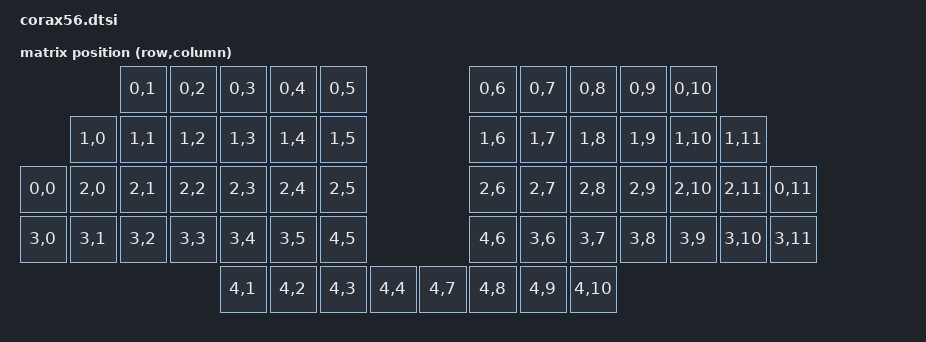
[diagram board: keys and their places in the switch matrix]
#include <dt-bindings/zmk/matrix_transform.h>

/ {
    chosen {
        zmk,kscan = &kscan0;
        zmk,matrix_transform = &default_transform;
    };

    default_transform: keymap_transform_0 {
        compatible = "zmk,matrix-transform";
        rows = <5>;
        columns = <16>;

        map = <
                RC(0,1) RC(0,2) RC(0,3) RC(0,4) RC(0,5)                 RC(0,6) RC(0,7) RC(0,8)  RC(0,9) RC(0,10)
        RC(1,0) RC(1,1) RC(1,2) RC(1,3) RC(1,4) RC(1,5)                 RC(1,6) RC(1,7) RC(1,8)  RC(1,9) RC(1,10) RC(1,11)
RC(0,0) RC(2,0) RC(2,1) RC(2,2) RC(2,3) RC(2,4) RC(2,5)                 RC(2,6) RC(2,7) RC(2,8)  RC(2,9) RC(2,10) RC(2,11) RC(0,11)
        RC(3,0) RC(3,1) RC(3,2) RC(3,3) RC(3,4) RC(3,5) RC(4,5) RC(4,6) RC(3,6) RC(3,7) RC(3,8)  RC(3,9) RC(3,10) RC(3,11)
                                RC(4,1) RC(4,2) RC(4,3) RC(4,4) RC(4,7) RC(4,8) RC(4,9) RC(4,10)
        >;
    };

    kscan0: kscan {
        compatible = "zmk,kscan-gpio-matrix";
    };

    &pinctrl {
        i2c1_default: i2c1_default {
            group1 {
                psels = <NRF_PSEL(TWIM_SDA, 0, 20)>, <NRF_PSEL(TWIM_SCL, 0, 21)>;
            };
        };
        i2c1_sleep: i2c1_sleep {
            group1 {
                psels = <NRF_PSEL(TWIM_SDA, 0, 20)>, <NRF_PSEL(TWIM_SCL, 0, 21)>;
                low-power-enable;
            };
        };
    };
    
    &i2c1 {
        status = "okay";
        pinctrl-0 = <&i2c1_default>;
        pinctrl-1 = <&i2c1_sleep>;
        pinctrl-names = "default", "sleep";
    
        as5600_scroll: as5600@36 {
            compatible = "zmk,input-ams-as5600";
            reg = <0x36>;
            label = "AS5600";
        };
    };
};
